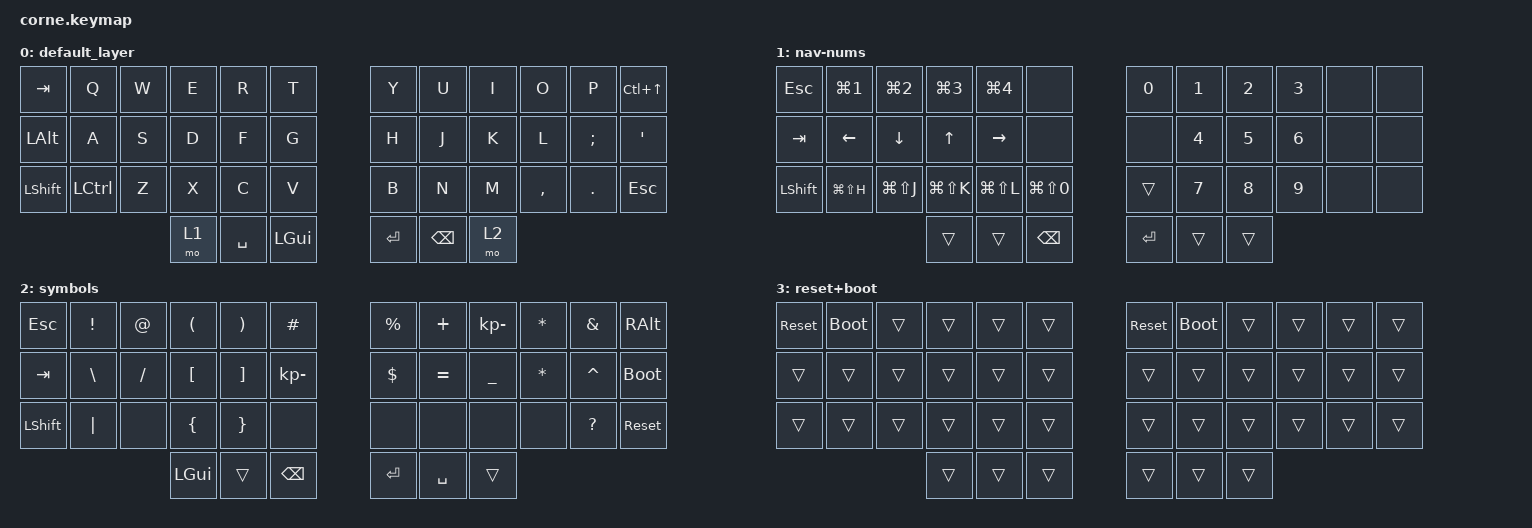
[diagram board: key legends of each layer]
/*
 * Copyright (c) 2020 The ZMK Contributors
 *
 * SPDX-License-Identifier: MIT
 */

#include <behaviors.dtsi>
#include <dt-bindings/zmk/keys.h>

/ {
    combos {
        compatible = "zmk,combos";

        leftbootloader {
            bindings = <&bootloader>;
            key-positions = <0 24 25 1>;
        };

        leftsysreset {
            bindings = <&sys_reset>;
            key-positions = <2 26 14>;
        };
    };

    keymap {
        compatible = "zmk,keymap";

        default_layer {
            // -----------------------------------------------------------------------------------------
            // |  TAB |  Q  |  W  |  E  |  R  |  T  |   |  Y  |  U   |  I  |  O  |  P  | BSPC |
            // | CTRL |  A  |  S  |  D  |  F  |  G  |   |  H  |  J   |  K  |  L  |  ;  |  '   |
            // | SHFT |  Z  |  X  |  C  |  V  |  B  |   |  N  |  M   |  ,  |  .  |  /  | ESC  |
            //                    | GUI | LWR | SPC |   | ENT | RSE  | ALT |

            bindings = <
&kp TAB    &kp Q      &kp W  &kp E  &kp R      &kp T       &kp Y    &kp U          &kp I  &kp O      &kp P       &kp LC(UP_ARROW)
&kp LALT   &kp A      &kp S  &kp D  &kp F      &kp G       &kp H    &kp J          &kp K  &kp L      &kp SEMI    &kp SQT
&kp LSHFT  &kp LCTRL  &kp Z  &kp X  &kp C      &kp V       &kp B    &kp N          &kp M  &kp COMMA  &kp PERIOD  &kp ESCAPE
                             &mo 1  &kp SPACE  &kp LGUI    &kp RET  &kp BACKSPACE  &mo 2
            >;
        };

        nav-nums {
            // -----------------------------------------------------------------------------------------
            // |  TAB |  1  |  2  |  3  |  4  |  5  |   |  6  |  7  |  8  |  9  |  0  | BSPC |
            // | BTCLR| BT1 | BT2 | BT3 | BT4 | BT5 |   | LFT | DWN |  UP | RGT |     |      |
            // | SHFT |     |     |     |     |     |   |     |     |     |     |     |      |
            //                    | GUI |     | SPC |   | ENT |     | ALT |

            bindings = <
&kp ESCAPE  &kp LG(NUMBER_1)  &kp LG(NUMBER_2)  &kp LG(NUMBER_3)  &kp LG(NUMBER_4)  &none             &kp N0   &kp NUMBER_1  &kp NUMBER_2  &kp NUMBER_3  &none  &none
&kp TAB     &kp LEFT_ARROW    &kp DOWN_ARROW    &kp UP_ARROW      &kp RIGHT_ARROW   &none             &none    &kp NUMBER_4  &kp N5        &kp NUMBER_6  &none  &none
&kp LSHFT   &kp LG(LS(H))     &kp LG(LS(J))     &kp LG(LS(K))     &kp LG(LS(L))     &kp LG(LS(N0))    &trans   &kp NUMBER_7  &kp NUMBER_8  &kp NUMBER_9  &none  &none
                                                &trans            &trans            &kp BACKSPACE     &kp RET  &trans        &trans
            >;
        };

        symbols {
            // -----------------------------------------------------------------------------------------
            // |  TAB |  !  |  @  |  #  |  $  |  %  |   |  ^  |  &  |  *  |  (  |  )  | BSPC |
            // | CTRL |     |     |     |     |     |   |  -  |  =  |  [  |  ]  |  \  |  `   |
            // | SHFT |     |     |     |     |     |   |  _  |  +  |  {  |  }  | "|" |  ~   |
            //                    | GUI |     | SPC |   | ENT |     | ALT |

            bindings = <
&kp ESCAPE  &kp EXCL       &kp AT_SIGN  &kp LEFT_PARENTHESIS  &kp RIGHT_PARENTHESIS  &kp HASH         &kp PERCENT  &kp PLUS   &kp KP_MINUS  &kp ASTERISK  &kp AMPERSAND  &kp RIGHT_ALT
&kp TAB     &kp BACKSLASH  &kp SLASH    &kp LEFT_BRACKET      &kp RIGHT_BRACKET      &kp KP_MINUS     &kp DOLLAR   &kp EQUAL  &kp UNDER     &kp STAR      &kp CARET      &bootloader
&kp LSHFT   &kp PIPE       &none        &kp LEFT_BRACE        &kp RIGHT_BRACE        &none            &none        &none      &none         &none         &kp QUESTION   &sys_reset
                                        &kp LGUI              &trans                 &kp BACKSPACE    &kp RET      &kp SPACE  &trans
            >;
        };

        reset+boot {
            bindings = <
&sys_reset  &bootloader  &trans  &trans  &trans  &trans    &sys_reset  &bootloader  &trans  &trans  &trans  &trans
&trans      &trans       &trans  &trans  &trans  &trans    &trans      &trans       &trans  &trans  &trans  &trans
&trans      &trans       &trans  &trans  &trans  &trans    &trans      &trans       &trans  &trans  &trans  &trans
                                 &trans  &trans  &trans    &trans      &trans       &trans
            >;
        };
    };

    conditional_layers {
        compatible = "zmk,conditional-layers";

        sys {
            if-layers = <1 2>;
            then-layer = <3>;
        };
    };
};
